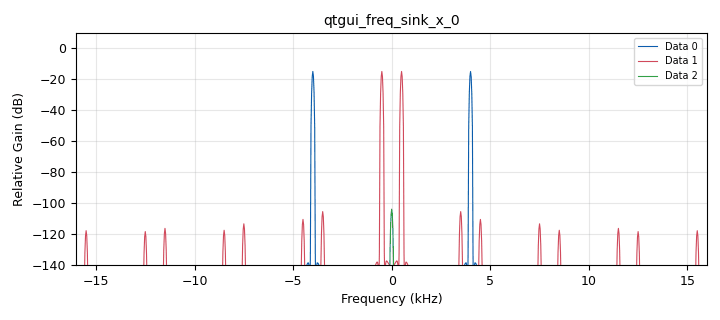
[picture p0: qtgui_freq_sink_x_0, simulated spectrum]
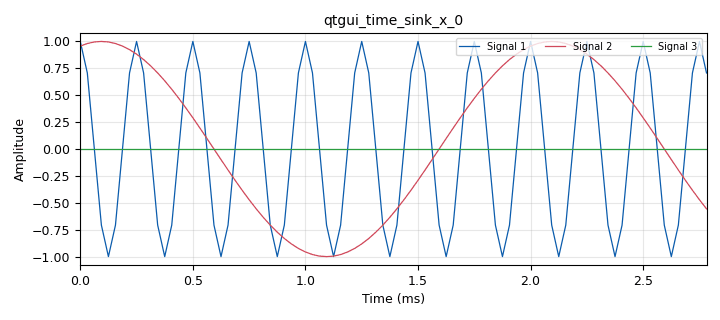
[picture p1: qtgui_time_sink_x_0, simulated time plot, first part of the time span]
options:
  parameters:
    author: Miguel_Garcia_L1A_G4
    generate_options: qt_gui
    id: Lab1_parte2
    output_language: python
    title: Lab1_parte2_5intepolacion
  states: {}

blocks:
- name: freq
  id: variable_qtgui_range
  parameters:
    label: frequency
    start: '1000'
    step: '1000'
    stop: '40000'
    value: '4000'
  states: {}
- name: samp_rate
  id: variable
  parameters:
    value: '32000'
  states: {}
- name: analog_sig_source_x_0
  id: analog_sig_source_x
  parameters:
    amp: '1'
    freq: freq
    offset: '0'
    phase: '0'
    samp_rate: samp_rate
    type: float
    waveform: analog.GR_COS_WAVE
  states: {}
- name: analog_sig_source_x_0_0
  id: analog_sig_source_x
  parameters:
    amp: '1'
    freq: freq
    offset: '0'
    phase: '0'
    samp_rate: samp_rate
    type: float
    waveform: analog.GR_COS_WAVE
  states: {}
- name: analog_sig_source_x_0_1
  id: analog_sig_source_x
  parameters:
    amp: '1'
    freq: freq
    offset: '0'
    phase: '0'
    samp_rate: samp_rate
    type: float
    waveform: analog.GR_COS_WAVE
  states: {}
- name: blocks_throttle_0
  id: blocks_throttle
  parameters:
    samples_per_second: samp_rate
    type: float
  states: {}
- name: qtgui_freq_sink_x_0
  id: qtgui_freq_sink_x
  parameters:
    bw: samp_rate
    fc: '0'
    fftsize: '1024'
    nconnections: '3'
    type: float
  states: {}
- name: qtgui_time_sink_x_0
  id: qtgui_time_sink_x
  parameters:
    nconnections: '3'
    size: '1024'
    srate: samp_rate
    type: float
  states: {}
- name: rational_resampler_xxx_0
  id: rational_resampler_xxx
  parameters:
    decim: '1'
    interp: '1'
    type: fff
  states: {}
- name: rational_resampler_xxx_0_0
  id: rational_resampler_xxx
  parameters:
    decim: '1'
    interp: '8'
    type: fff
  states: {}
- name: rational_resampler_xxx_0_1
  id: rational_resampler_xxx
  parameters:
    decim: '8'
    interp: '1'
    type: fff
  states: {}

connections:
- [analog_sig_source_x_0, '0', rational_resampler_xxx_0, '0']
- [analog_sig_source_x_0_0, '0', rational_resampler_xxx_0_1, '0']
- [analog_sig_source_x_0_1, '0', rational_resampler_xxx_0_0, '0']
- [blocks_throttle_0, '0', qtgui_freq_sink_x_0, '0']
- [blocks_throttle_0, '0', qtgui_time_sink_x_0, '0']
- [rational_resampler_xxx_0, '0', blocks_throttle_0, '0']
- [rational_resampler_xxx_0_0, '0', qtgui_freq_sink_x_0, '1']
- [rational_resampler_xxx_0_0, '0', qtgui_time_sink_x_0, '1']
- [rational_resampler_xxx_0_1, '0', qtgui_freq_sink_x_0, '2']
- [rational_resampler_xxx_0_1, '0', qtgui_time_sink_x_0, '2']

metadata:
  file_format: 1
